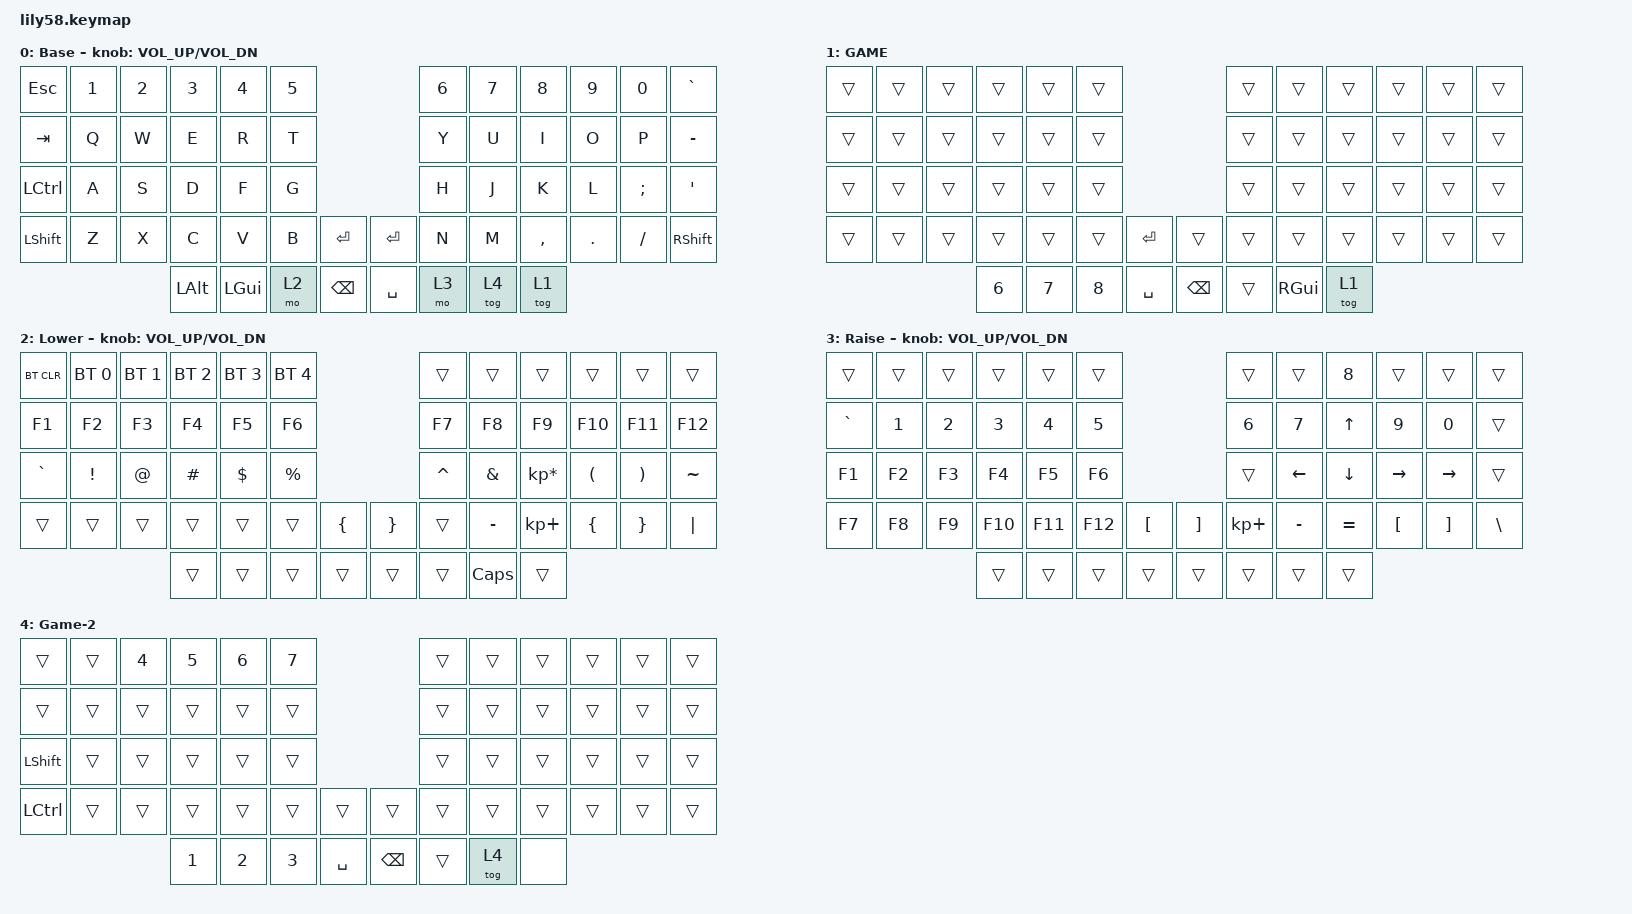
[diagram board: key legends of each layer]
/*
 * Copyright (c) 2020 The ZMK Contributors
 *
 * SPDX-License-Identifier: MIT
 */

#include <behaviors.dtsi>
#include <dt-bindings/zmk/bt.h>
#include <dt-bindings/zmk/keys.h>

/ {
    keymap {
        compatible = "zmk,keymap";

        BASE {
            // ------------------------------------------------------------------------------------------------------------
            // |  ESC  |  1  |  2  |  3   |  4   |  5   |                   |  6   |  7    |  8    |  9   |   0   |   `   |
            // |  TAB  |  Q  |  W  |  E   |  R   |  T   |                   |  Y   |  U    |  I    |  O   |   P   |   -   |
            // |  CTRL |  A  |  S  |  D   |  F   |  G   |                   |  H   |  J    |  K    |  L   |   ;   |   '   |
            // | SHIFT |  Z  |  X  |  C   |  V   |  B   |   "["  |  |  "]"  |  N   |  M    |  ,    |  .   |   /   | SHIFT |
            //                     | ALT  | GUI  | LOWER|  SPACE |  | ENTER | RAISE| BSPC  | GUI   |

            display-name = "Base";
            bindings = <
&kp ESC    &kp N1  &kp N2  &kp N3        &kp N4    &kp N5                              &kp N6  &kp N7  &kp N8     &kp N9   &kp N0    &kp GRAVE
&kp TAB    &kp Q   &kp W   &kp E         &kp R     &kp T                               &kp Y   &kp U   &kp I      &kp O    &kp P     &kp MINUS
&kp LCTRL  &kp A   &kp S   &kp D         &kp F     &kp G                               &kp H   &kp J   &kp K      &kp L    &kp SEMI  &kp SQT
&kp LSHFT  &kp Z   &kp X   &kp C         &kp V     &kp B   &kp ENTER        &kp RET    &kp N   &kp M   &kp COMMA  &kp DOT  &kp FSLH  &kp RSHFT
                           &kp LEFT_ALT  &kp LGUI  &mo 2   &kp BACKSPACE    &kp SPACE  &mo 3   &tog 4  &tog 1
            >;

            sensor-bindings = <&inc_dec_kp C_VOL_UP C_VOL_DN>;
        };

        GAME {
            bindings = <
&trans  &trans  &trans  &trans        &trans  &trans                              &trans  &trans         &trans  &trans  &trans  &trans
&trans  &trans  &trans  &trans        &trans  &trans                              &trans  &trans         &trans  &trans  &trans  &trans
&trans  &trans  &trans  &trans        &trans  &trans                              &trans  &trans         &trans  &trans  &trans  &trans
&trans  &trans  &trans  &trans        &trans  &trans  &kp ENTER    &trans         &trans  &trans         &trans  &trans  &trans  &trans
                        &kp NUMBER_6  &kp N7  &kp N8  &kp SPACE    &kp BACKSPACE  &trans  &kp RIGHT_GUI  &tog 1
            >;
        };

        lower_layer {
            // ------------------------------------------------------------------------------------------------------------
            // | BTCLR | BT1 | BT2 |  BT3 |  BT4 |  BT5 |                   |      |       |       |      |       |       |
            // |  F1   |  F2 |  F3 |  F4  |  F5  |  F6  |                   |  F7  |  F8   |  F9   |  F10 |  F11  |  F12  |
            // |   `   |  !  |  @  |  #   |  $   |  %   |                   |  ^   |  &    |  *    |  (   |   )   |   ~   |
            // |       |     |     |      |      |      |        |  |       |      |  _    |  +    |  {   |   }   |  "|"  |
            //                     |      |      |      |        |  |       |      |       |       |

            display-name = "Lower";
            bindings = <
&bt BT_CLR  &bt BT_SEL 0  &bt BT_SEL 1  &bt BT_SEL 2  &bt BT_SEL 3  &bt BT_SEL 4                                     &trans     &trans     &trans           &trans    &trans    &trans
&kp F1      &kp F2        &kp F3        &kp F4        &kp F5        &kp F6                                           &kp F7     &kp F8     &kp F9           &kp F10   &kp F11   &kp F12
&kp GRAVE   &kp EXCL      &kp AT        &kp HASH      &kp DOLLAR    &kp PRCNT                                        &kp CARET  &kp AMPS   &kp KP_MULTIPLY  &kp LPAR  &kp RPAR  &kp TILDE
&trans      &trans        &trans        &trans        &trans        &trans        &kp LEFT_BRACE    &kp RIGHT_BRACE  &trans     &kp MINUS  &kp KP_PLUS      &kp LBRC  &kp RBRC  &kp PIPE
                                        &trans        &trans        &trans        &trans            &trans           &trans     &kp CAPS   &trans
            >;

            sensor-bindings = <&inc_dec_kp C_VOL_UP C_VOL_DN>;
        };

        raise_layer {
            // ------------------------------------------------------------------------------------------------------------
            // |       |     |     |      |      |      |                   |      |       |       |      |       |       |
            // |   `   |  1  |  2  |  3   |  4   |  5   |                   |  6   |   7   |   8   |  9   |   0   |       |
            // |   F1  |  F2 |  F3 |  F4  |  F5  |  F6  |                   |      |   <-  |   v   |  ^   |  ->   |       |
            // |   F7  |  F8 |  F9 |  F10 |  F11 |  F12 |        |  |       |  +   |   -   |   =   |  [   |   ]   |   \   |
            //                     |      |      |      |        |  |       |      |       |       |

            display-name = "Raise";
            bindings = <
&trans     &trans  &trans  &trans   &trans   &trans                                          &trans       &trans     &kp N8        &trans     &trans     &trans
&kp GRAVE  &kp N1  &kp N2  &kp N3   &kp N4   &kp N5                                          &kp N6       &kp N7     &kp UP_ARROW  &kp N9     &kp N0     &trans
&kp F1     &kp F2  &kp F3  &kp F4   &kp F5   &kp F6                                          &trans       &kp LEFT   &kp DOWN      &kp RIGHT  &kp RIGHT  &trans
&kp F7     &kp F8  &kp F9  &kp F10  &kp F11  &kp F12  &kp LEFT_BRACKET    &kp RIGHT_BRACKET  &kp KP_PLUS  &kp MINUS  &kp EQUAL     &kp LBKT   &kp RBKT   &kp BSLH
                           &trans   &trans   &trans   &trans              &trans             &trans       &trans     &trans
            >;

            sensor-bindings = <&inc_dec_kp C_VOL_UP C_VOL_DN>;
        };

        Game-2 {
            bindings = <
&trans            &trans  &kp NUMBER_4  &kp N5        &kp NUMBER_6  &kp N7                                    &trans  &trans  &trans  &trans  &trans  &trans
&trans            &trans  &trans        &trans        &trans        &trans                                    &trans  &trans  &trans  &trans  &trans  &trans
&kp LEFT_SHIFT    &trans  &trans        &trans        &trans        &trans                                    &trans  &trans  &trans  &trans  &trans  &trans
&kp LEFT_CONTROL  &trans  &trans        &trans        &trans        &trans        &trans       &trans         &trans  &trans  &trans  &trans  &trans  &trans
                                        &kp NUMBER_1  &kp NUMBER_2  &kp NUMBER_3  &kp SPACE    &kp BACKSPACE  &trans  &tog 4  &none
            >;
        };
    };
};
